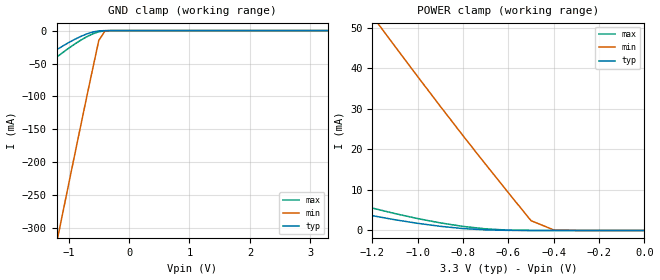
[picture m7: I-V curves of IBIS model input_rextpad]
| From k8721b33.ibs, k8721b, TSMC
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|   Model input_rextpad
[Model]   input_rextpad
Model_type   Input
Polarity   Non-Inverting
Vinl =   0.8V
Vinh =   2.0V
C_comp   2.17e-12F   2.44e-12F   2.00e-12F
[Temperature Range]   25   125   0
[Voltage Range]   3.30V   3.00V   3.60V
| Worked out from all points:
|   GND clamp passes 1 mA (typ) near -0.53 V on its own axis
|   POWER clamp passes 1 mA (typ) near -0.90 V on its own axis
[POWER_clamp]
| voltage   I(typ)   I(min)   I(max)
-3.3V     35.24mA    219.9mA    42.59mA
-2.7V     25.67mA    171.1mA    32.14mA
-1.9V     12.96mA    107.1mA    17.34mA
-1.5V     7.246mA    75.84mA    10.23mA
-1.2V     3.646mA    52.91mA    5.528mA
-1.1V     2.642mA    45.39mA    4.163mA
-900mV    1.027mA    30.61mA    1.869mA
-800mV    470.5uA    23.37mA    1.002mA
-700mV    145.1uA    16.27mA    397uA
-500mV    2.777uA    2.411mA    7.621uA
-400mV    112.9nA    142.7uA    377.4nA
0V        337.3pA    14.52nA    876.9pA
[GND_clamp]
| voltage   I(typ)   I(min)   I(max)
-3.3V     -148.6mA   -1.276A    -176.6mA
-2.9V     -129mA     -1.095A    -155.3mA
-2.4V     -101.6mA   -868.7mA   -124.9mA
-1.9V     -71.64mA   -641mA     -90.9mA
-1.2V     -29.2mA    -323.1mA   -40.51mA
-1.1V     -23.61mA   -278.1mA   -33.56mA
-800mV    -8.92mA    -144.5mA   -14.62mA
-600mV    -2.186mA   -57.28mA   -4.964mA
-500mV    -505.3uA   -14.77mA   -1.764mA
-400mV    -50.13uA   -905.6uA   -273.1uA
3.3V      337.3pA    7.896uA    718.2pA
